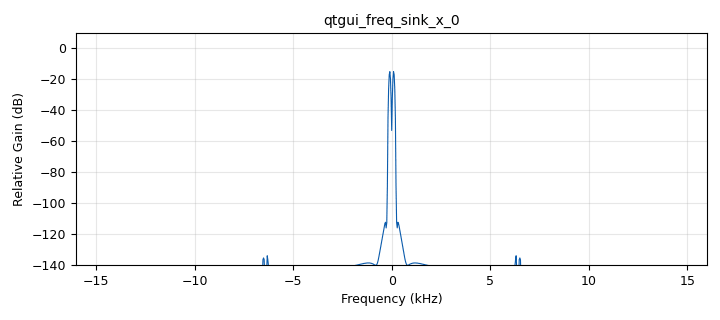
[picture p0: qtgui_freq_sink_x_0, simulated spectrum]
<?xml version='1.0' encoding='utf-8'?>
<?grc format='1' created='3.7.13'?>
<flow_graph>
<block>
<key>options</key>
<param><key>id</key><value>top_block</value></param>
<param><key>generate_options</key><value>qt_gui</value></param>
</block>
<block>
<key>variable</key>
<param><key>id</key><value>samp_rate</value></param>
<param><key>value</key><value>32000</value></param>
</block>
<block>
<key>analog_sig_source_x</key>
<param><key>id</key><value>analog_sig_source_x_0</value></param>
<param><key>amp</key><value>1</value></param>
<param><key>freq</key><value>100</value></param>
<param><key>offset</key><value>0</value></param>
<param><key>type</key><value>float</value></param>
<param><key>samp_rate</key><value>samp_rate</value></param>
<param><key>waveform</key><value>analog.GR_COS_WAVE</value></param>
</block>
<block>
<key>blocks_stream_to_vector</key>
<param><key>id</key><value>blocks_stream_to_vector_0</value></param>
<param><key>_enabled</key><value>0</value></param>
<param><key>type</key><value>float</value></param>
<param><key>num_items</key><value>1</value></param>
<param><key>vlen</key><value>1024</value></param>
</block>
<block>
<key>blocks_throttle</key>
<param><key>id</key><value>blocks_throttle_0</value></param>
<param><key>_enabled</key><value>0</value></param>
<param><key>samples_per_second</key><value>samp_rate</value></param>
<param><key>type</key><value>float</value></param>
<param><key>vlen</key><value>1024</value></param>
</block>
<block>
<key>fft_vxx</key>
<param><key>id</key><value>fft_vxx_0</value></param>
<param><key>_enabled</key><value>0</value></param>
<param><key>fft_size</key><value>1024</value></param>
<param><key>forward</key><value>True</value></param>
<param><key>type</key><value>float</value></param>
<param><key>shift</key><value>True</value></param>
<param><key>window</key><value>window.blackmanharris(1024)</value></param>
</block>
<block>
<key>qtgui_freq_sink_x</key>
<param><key>id</key><value>qtgui_freq_sink_x_0</value></param>
<param><key>bw</key><value>samp_rate</value></param>
<param><key>fc</key><value>0</value></param>
<param><key>fftsize</key><value>1024</value></param>
<param><key>showports</key><value>True</value></param>
<param><key>type</key><value>float</value></param>
<param><key>wintype</key><value>firdes.WIN_BLACKMAN_hARRIS</value></param>
</block>
<block>
<key>qtgui_time_sink_x</key>
<param><key>id</key><value>qtgui_time_sink_x_0</value></param>
<param><key>_enabled</key><value>0</value></param>
<param><key>color1</key><value>"blue"</value></param>
<param><key>label1</key><value></value></param>
<param><key>color2</key><value>"red"</value></param>
<param><key>label2</key><value></value></param>
<param><key>size</key><value>1024</value></param>
<param><key>srate</key><value>samp_rate</value></param>
<param><key>type</key><value>complex</value></param>
</block>
<connection><source_block_id>analog_sig_source_x_0</source_block_id><sink_block_id>blocks_throttle_0</sink_block_id><source_key>0</source_key><sink_key>0</sink_key></connection>
<connection><source_block_id>analog_sig_source_x_0</source_block_id><sink_block_id>qtgui_freq_sink_x_0</sink_block_id><source_key>0</source_key><sink_key>0</sink_key></connection>
<connection><source_block_id>blocks_stream_to_vector_0</source_block_id><sink_block_id>fft_vxx_0</sink_block_id><source_key>0</source_key><sink_key>0</sink_key></connection>
<connection><source_block_id>blocks_throttle_0</source_block_id><sink_block_id>blocks_stream_to_vector_0</sink_block_id><source_key>0</source_key><sink_key>0</sink_key></connection>
<connection><source_block_id>fft_vxx_0</source_block_id><sink_block_id>qtgui_time_sink_x_0</sink_block_id><source_key>0</source_key><sink_key>0</sink_key></connection>
</flow_graph>
